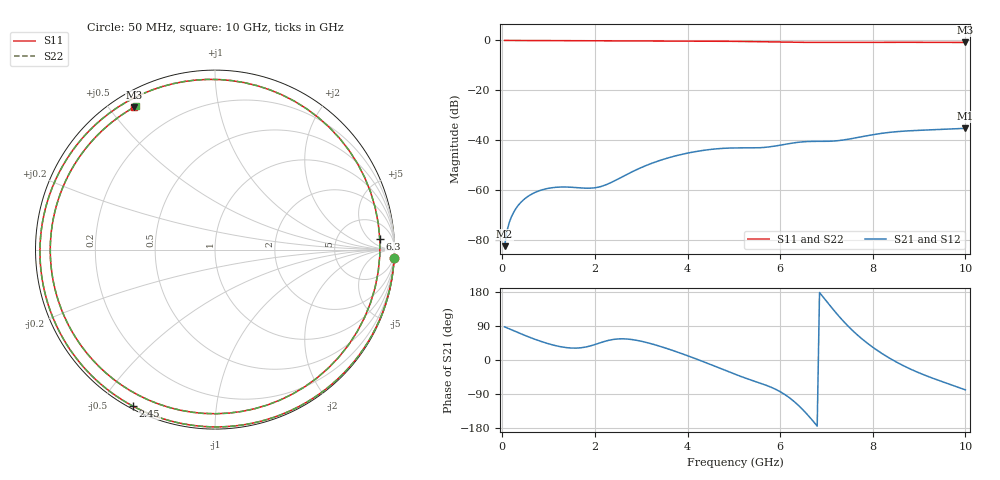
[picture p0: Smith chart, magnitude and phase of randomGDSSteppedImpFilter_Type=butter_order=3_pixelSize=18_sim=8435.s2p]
! freq	dB(S11)	phase(S11)	dB(S12)	phase(S12)
!  dB(S21)	phase(S21)	dB(S22)	phase(S22)
!S-par simulation data
#  GHz  S  DB  R 50
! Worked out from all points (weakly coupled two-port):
!   200 points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, 50 MHz to 10 GHz, reference 50 ohm
!   highest |S21| = -35.29 dB at 10 GHz (marker M1); lowest = -82.6 dB at 50 MHz (marker M2)
!   lowest |S11| = -0.8 dB at 10 GHz (marker M3), VSWR 21.74, Z = 3.08 + j29.1 ohm
!   |S11| at or under -10 dB: nowhere
!   |S22| runs from -0.8 to 0.0 dB; largest |S21 - S12| = 0
!   S11 on the Smith chart (normalised r, x): 50 MHz: 0, -43; 2.45 GHz: 0.01, -0.60; 6.3 GHz: 15, +12; 10 GHz: 0.06, +0.58
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0.05  -0.00 -2.7  -82.60 87.4  -82.60 87.4  -0.00 -2.7
0.15  -0.01 -7.9  -73.13 82.2  -73.13 82.2  -0.01 -7.9
0.25  -0.02 -13.1  -68.82 77.0  -68.82 77.0  -0.02 -13.1
0.55  -0.03 -28.7  -62.66 61.9  -62.66 61.9  -0.03 -28.7
1.15  -0.07 -58.8  -58.97 37.9  -58.97 37.9  -0.07 -58.8
1.75  -0.10 -87.0  -59.28 33.1  -59.28 33.1  -0.10 -87.0
2.45  -0.13 -117.7  -56.13 55.1  -56.13 55.1  -0.13 -117.7
3.4  -0.18 -157.8  -48.19 36.3  -48.19 36.3  -0.18 -157.8
4.3  -0.26 161.3  -44.24 -2.5  -44.24 -2.5  -0.26 161.2
4.7  -0.31 139.9  -43.40 -21.8  -43.40 -21.8  -0.31 139.8
5.05  -0.37 118.3  -43.15 -38.7  -43.15 -38.7  -0.37 118.1
5.4  -0.45 92.6  -43.15 -54.1  -43.15 -54.1  -0.45 92.4
5.7  -0.54 66.6  -42.87 -66.8  -42.87 -66.8  -0.54 66.3
6.05  -0.65 31.3  -41.90 -87.2  -41.90 -87.2  -0.65 30.9
6.3  -0.72 3.7  -41.11 -109.4  -41.11 -109.4  -0.72 3.2
6.7  -0.78 -40.8  -40.53 -159.7  -40.53 -159.7  -0.78 -41.4
7  -0.79 -71.3  -40.51 155.1  -40.51 155.1  -0.78 -71.9
7.35  -0.77 -102.1  -40.00 104.5  -40.00 104.5  -0.77 -102.6
7.85  -0.74 -137.6  -38.34 47.5  -38.34 47.5  -0.74 -138.1
8.35  -0.74 -166.3  -36.93 5.7  -36.93 5.7  -0.74 -166.7
9.1  -0.76 157.9  -36.01 -38.9  -36.01 -38.9  -0.76 157.4
10  -0.80 119.5  -35.29 -78.8  -35.29 -78.8  -0.80 118.9
